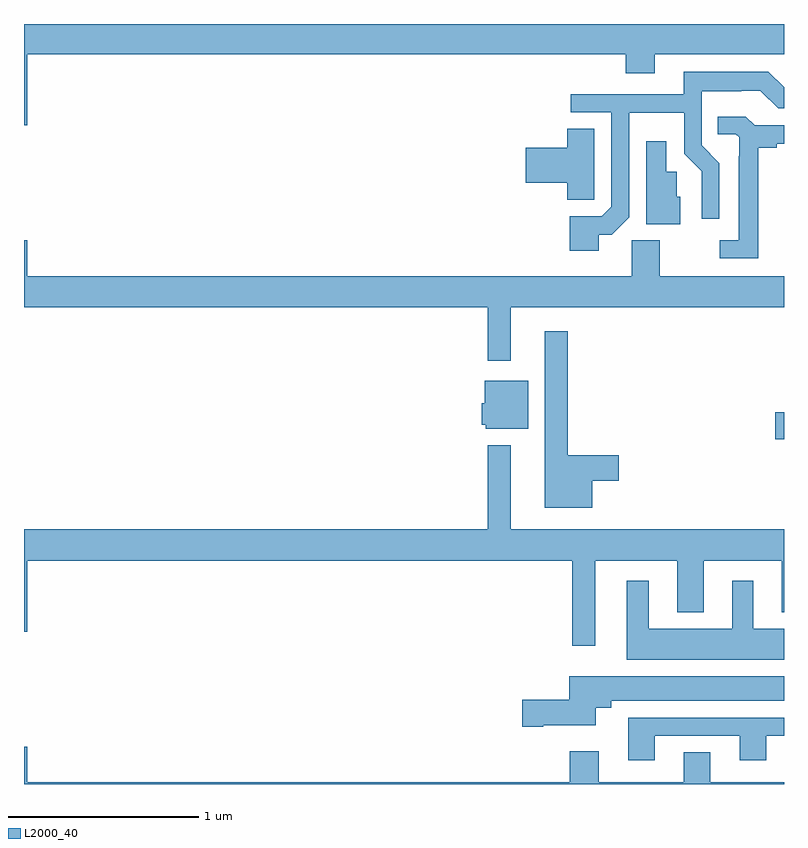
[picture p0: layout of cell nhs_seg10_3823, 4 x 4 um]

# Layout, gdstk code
import gdstk
lib = gdstk.Library(unit=1e-6, precision=1e-09)
def R(c, l, rs):  # rectangles x0, y0, x1, y1
    for r in rs: c.add(gdstk.rectangle(r[:2], r[2:], *l))
def P(c, l, *ps):  # polygons
    for p in ps: c.add(gdstk.Polygon(p, *l))
L2000_40 = (2000, 40)

nhs_seg10_3823 = lib.new_cell('nhs_seg10_3823')
R(nhs_seg10_3823, L2000_40, [(324.954,1274.314,325,1274.456)])
P(nhs_seg10_3823, L2000_40, [(321.016,1276.34),(324.167,1276.34),(324.167,1276.241),(324.319,1276.241),(324.319,1276.34),(325,1276.34),(325,1276.5),(321,1276.5),(321,1275.966),(321.016,1275.966)],
  [(324.025,1275.391),(324.093,1275.391),(324.186,1275.483),(324.186,1276.034),(324.474,1276.034),(324.474,1275.818),(324.566,1275.726),(324.566,1275.474),(324.66,1275.474),(324.66,1275.768),(324.567,1275.861),(324.567,1276.145),(324.776,1276.145),(324.776,1276.149),(324.876,1276.149),(324.969,1276.056),(325,1276.056),(325,1276.166),(324.917,1276.249),(324.473,1276.249),(324.473,1276.131),(323.877,1276.131),(323.877,1276.035),(324.09,1276.035),(324.09,1275.537),(324.042,1275.489),(323.873,1275.489),(323.873,1275.306),(324.025,1275.306)],
  [(324.865,1275.85),(324.961,1275.85),(324.961,1275.87),(325,1275.87),(325,1275.966),(324.846,1275.966),(324.798,1276.013),(324.652,1276.013),(324.652,1275.921),(324.747,1275.921),(324.765,1275.903),(324.765,1275.803),(324.761,1275.803),(324.761,1275.363),(324.663,1275.363),(324.663,1275.267),(324.865,1275.267)],
  [(324,1275.682),(324.001,1275.682),(324.001,1275.95),(323.858,1275.95),(323.858,1275.848),(323.64,1275.848),(323.64,1275.665),(323.858,1275.665),(323.858,1275.574),(324,1275.574)],
  [(324.454,1275.591),(324.435,1275.591),(324.435,1275.723),(324.379,1275.723),(324.379,1275.883),(324.275,1275.883),(324.275,1275.446),(324.454,1275.446)],
  [(323.563,1275.008),(325,1275.008),(325,1275.172),(324.345,1275.172),(324.345,1275.361),(324.198,1275.361),(324.198,1275.172),(321.016,1275.172),(321.016,1275.361),(321,1275.361),(321,1275.008),(323.442,1275.008),(323.442,1274.727),(323.563,1274.727)],
  [(323.992,1274.096),(324.13,1274.096),(324.13,1274.231),(323.863,1274.231),(323.863,1274.884),(323.741,1274.884),(323.741,1273.955),(323.992,1273.955)],
  [(323.653,1274.623),(323.426,1274.623),(323.426,1274.505),(323.408,1274.505),(323.408,1274.391),(323.43,1274.391),(323.43,1274.369),(323.653,1274.369)],
  [(324.007,1273.676),(324.437,1273.676),(324.437,1273.403),(324.577,1273.403),(324.577,1273.676),(324.989,1273.676),(324.989,1273.403),(325,1273.403),(325,1273.84),(323.563,1273.84),(323.563,1274.284),(323.442,1274.284),(323.442,1273.84),(321,1273.84),(321,1273.302),(321.016,1273.302),(321.016,1273.676),(323.886,1273.676),(323.886,1273.227),(324.007,1273.227)],
  [(325,1273.318),(324.838,1273.318),(324.838,1273.57),(324.728,1273.57),(324.728,1273.318),(324.289,1273.318),(324.289,1273.57),(324.173,1273.57),(324.173,1273.154),(325,1273.154)],
  [(323.734,1272.809),(324.01,1272.809),(324.01,1272.902),(324.091,1272.902),(324.091,1272.938),(325,1272.938),(325,1273.066),(323.87,1273.066),(323.87,1272.944),(323.622,1272.944),(323.622,1272.802),(323.734,1272.802)],
  [(324.319,1272.753),(324.767,1272.753),(324.767,1272.624),(324.907,1272.624),(324.907,1272.753),(325,1272.753),(325,1272.849),(324.179,1272.849),(324.179,1272.624),(324.319,1272.624)],
  [(325,1272.508),(324.613,1272.508),(324.613,1272.668),(324.473,1272.668),(324.473,1272.508),(324.025,1272.508),(324.025,1272.673),(323.873,1272.673),(323.873,1272.508),(321.016,1272.508),(321.016,1272.697),(321,1272.697),(321,1272.5),(325,1272.5)])

lib.write_gds('nhs_seg10_3823.gds')
